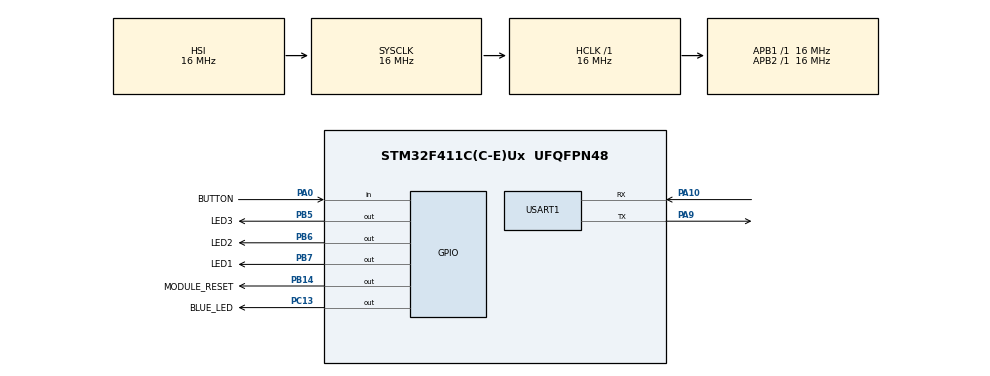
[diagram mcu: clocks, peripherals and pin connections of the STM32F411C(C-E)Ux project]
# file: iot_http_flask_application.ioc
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Dma.Request0=USART1_RX
Dma.Request1=USART1_TX
Dma.USART1_RX.0.Direction=DMA_PERIPH_TO_MEMORY
Dma.USART1_RX.0.FIFOMode=DMA_FIFOMODE_DISABLE
Dma.USART1_RX.0.Instance=DMA2_Stream2
Dma.USART1_RX.0.MemDataAlignment=DMA_MDATAALIGN_BYTE
Dma.USART1_RX.0.MemInc=DMA_MINC_ENABLE
Dma.USART1_RX.0.Mode=DMA_NORMAL
Dma.USART1_RX.0.PeriphDataAlignment=DMA_PDATAALIGN_BYTE
Dma.USART1_RX.0.PeriphInc=DMA_PINC_DISABLE
Dma.USART1_RX.0.Priority=DMA_PRIORITY_LOW
Dma.USART1_TX.1.Direction=DMA_MEMORY_TO_PERIPH
Dma.USART1_TX.1.FIFOMode=DMA_FIFOMODE_DISABLE
Dma.USART1_TX.1.Instance=DMA2_Stream7
Dma.USART1_TX.1.MemDataAlignment=DMA_MDATAALIGN_BYTE
Dma.USART1_TX.1.MemInc=DMA_MINC_ENABLE
Dma.USART1_TX.1.Mode=DMA_NORMAL
Dma.USART1_TX.1.PeriphDataAlignment=DMA_PDATAALIGN_BYTE
Dma.USART1_TX.1.PeriphInc=DMA_PINC_DISABLE
Dma.USART1_TX.1.Priority=DMA_PRIORITY_LOW
Mcu.Family=STM32F4
Mcu.Name=STM32F411C(C-E)Ux
Mcu.Package=UFQFPN48
NVIC.DMA2_Stream2_IRQn=true\:0\:0\:false\:false\:true\:false\:true\:true
NVIC.DMA2_Stream7_IRQn=true\:0\:0\:false\:false\:true\:false\:true\:true
NVIC.PriorityGroup=NVIC_PRIORITYGROUP_4
NVIC.USART1_IRQn=true\:0\:0\:false\:false\:true\:true\:true\:true
PA0-WKUP.GPIO_Label=BUTTON
PA0-WKUP.GPIO_PuPd=GPIO_PULLUP
PA0-WKUP.Signal=GPIO_Input
PA10.Mode=Asynchronous
PA10.Signal=USART1_RX
PA13.Mode=Serial_Wire
PA13.Signal=SYS_JTMS-SWDIO
PA14.Mode=Serial_Wire
PA14.Signal=SYS_JTCK-SWCLK
PA9.Mode=Asynchronous
PA9.Signal=USART1_TX
PB14.GPIO_Label=MODULE_RESET
PB14.Signal=GPIO_Output
PB5.GPIO_Label=LED3
PB5.Signal=GPIO_Output
PB6.GPIO_Label=LED2
PB6.Signal=GPIO_Output
PB7.GPIO_Label=LED1
PB7.Signal=GPIO_Output
PC13-ANTI_TAMP.GPIO_Label=BLUE_LED
PC13-ANTI_TAMP.Signal=GPIO_Output
ProjectManager.HeapSize=0x200
ProjectManager.StackSize=0x400
ProjectManager.TargetToolchain=STM32CubeIDE
RCC.AHBFreq_Value=16000000
RCC.APB1Freq_Value=16000000
RCC.APB2Freq_Value=16000000
RCC.CortexFreq_Value=16000000
RCC.HSE_VALUE=25000000
RCC.HSI_VALUE=16000000
RCC.LSE_VALUE=32768
RCC.SYSCLKFreq_VALUE=16000000
RCC.VCOOutputFreq_Value=192000000
USART1.VirtualMode=VM_ASYNC
board=custom

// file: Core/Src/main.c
/* USER CODE BEGIN Header */
/**
  ******************************************************************************
  * @file           : main.c
  * @brief          : Main program body
  ******************************************************************************
  * @attention
  *
  * Copyright (c) 2022 STMicroelectronics.
  * All rights reserved.
  *
  * This software is licensed under terms that can be found in the LICENSE file
  * in the root directory of this software component.
  * If no LICENSE file comes with this software, it is provided AS-IS.
  *
  ******************************************************************************
  */
/* USER CODE END Header */
#include "main.h"

 UART_HandleTypeDef huart1;
DMA_HandleTypeDef hdma_usart1_rx;
DMA_HandleTypeDef hdma_usart1_tx;

void SystemClock_Config(void);
static void MX_GPIO_Init(void);
static void MX_DMA_Init(void);
static void MX_USART1_UART_Init(void);

int main(void)
{

  /* MCU Configuration--------------------------------------------------------*/

  /* Reset of all peripherals, Initializes the Flash interface and the Systick. */
  HAL_Init();

  /* Configure the system clock */
  SystemClock_Config();

  /* Initialize all configured peripherals */
  MX_GPIO_Init();
  MX_DMA_Init();
  MX_USART1_UART_Init();
  /* USER CODE BEGIN 2 */
  nx_json *json = NULL;
  wifiModuleInit();

  HAL_UARTEx_ReceiveToIdle_DMA(&huart1, (uint8_t*) hWifiModule.rxBuffer, WIFI_MODULE_BUFFER_SIZE);
  /* USER CODE END 2 */

  /* Infinite loop */
  /* USER CODE BEGIN WHILE */
  while (1)
  {

	/**
	 * Module configuration task
	 */
	  if(hWifiModule.controlFlags.flag.configurationFase && hWifiModule.controlFlags.flag.configurationNotify)
	  {
		  wifiModuleConfigSequence();

		  HAL_GPIO_TogglePin(BLUE_LED_GPIO_Port, BLUE_LED_Pin);

		  hWifiModule.controlFlags.flag.configurationNotify = DISABLE;

		  hWifiModule.httpTimer = HAL_GetTick();
	  }
	/**
	 * Make HTTP GET request periodically to obtain JSON string
	 */
	  if(0 == hWifiModule.controlFlags.flag.configurationFase && (HAL_GetTick() - hWifiModule.httpTimer > 1000))
	  {
		  wifiModuleHttpGetRequest();

		  hWifiModule.httpTimer = HAL_GetTick();
	  }
	  /**
	   *
	   */
	  if(hWifiModule.controlFlags.flag.httpGetNotify)
	  {
		  uint8_t offset = 0;
		  uint8_t value = 0;
		  offset = strlen(AT_HTTP_RESPONSE_HEADER) + 12;

		  json = nx_json_parse_utf8((char*)(hWifiModule.rxBuffer + offset));

		  value = nx_json_get(json, "Value")->text_value[0] - '0';

		  if(value)
		  {
			  HAL_GPIO_WritePin(BLUE_LED_GPIO_Port, BLUE_LED_Pin, RESET);
		  }
		  else
		  {
			  HAL_GPIO_WritePin(BLUE_LED_GPIO_Port, BLUE_LED_Pin, SET);
		  }

		  hWifiModule.controlFlags.flag.httpGetNotify = DISABLE;
	  }

	/**
	 * UART transmission task. It works only when the UART TX buffer is filled
	 */
	  if(hWifiModule.controlFlags.flag.packetToTransmit && (HAL_GetTick() - hWifiModule.txTimer > 1000))
	  {
		  HAL_UART_Transmit_DMA(&huart1, (uint8_t*) hWifiModule.txBuffer, hWifiModule.txPacketSize);

		  hWifiModule.controlFlags.flag.packetToTransmit = DISABLE;

		  hWifiModule.txTimer = HAL_GetTick();
	  }
	/**
	 * UART RX task. After UART RX callback is received and the UART RX buffer is filled, this task is executed
	 */
	  if(hWifiModule.controlFlags.flag.packetReceived)
	  {
		  hWifiModule.controlFlags.flag.packetReceived = DISABLE;

		  hWifiModule.rxTimer = HAL_GetTick();
		  //Check if the received packet is a http response packet
		  if(0 == memcmp(hWifiModule.rxBuffer, AT_HTTP_RESPONSE_HEADER, AT_HTTP_RESPONSE_HEADER_SIZE))
		  {
			  hWifiModule.controlFlags.flag.httpGetNotify = ENABLE;
		  }
		  else
		  {
			  hWifiModule.controlFlags.flag.configurationNotify = ENABLE;
		  }
	  }

    /* USER CODE END WHILE */

  }
}

void SystemClock_Config(void)
{
  RCC_OscInitTypeDef RCC_OscInitStruct = {0};
  RCC_ClkInitTypeDef RCC_ClkInitStruct = {0};

  /** Configure the main internal regulator output voltage
  */
  __HAL_RCC_PWR_CLK_ENABLE();
  __HAL_PWR_VOLTAGESCALING_CONFIG(PWR_REGULATOR_VOLTAGE_SCALE1);

  /** Initializes the RCC Oscillators according to the specified parameters
  * in the RCC_OscInitTypeDef structure.
  */
  RCC_OscInitStruct.OscillatorType = RCC_OSCILLATORTYPE_HSI;
  RCC_OscInitStruct.HSIState = RCC_HSI_ON;
  RCC_OscInitStruct.HSICalibrationValue = RCC_HSICALIBRATION_DEFAULT;
  RCC_OscInitStruct.PLL.PLLState = RCC_PLL_NONE;
  if (HAL_RCC_OscConfig(&RCC_OscInitStruct) != HAL_OK)
  {
    Error_Handler();
  }

  /** Initializes the CPU, AHB and APB buses clocks
  */
  RCC_ClkInitStruct.ClockType = RCC_CLOCKTYPE_HCLK|RCC_CLOCKTYPE_SYSCLK
                              |RCC_CLOCKTYPE_PCLK1|RCC_CLOCKTYPE_PCLK2;
  RCC_ClkInitStruct.SYSCLKSource = RCC_SYSCLKSOURCE_HSI;
  RCC_ClkInitStruct.AHBCLKDivider = RCC_SYSCLK_DIV1;
  RCC_ClkInitStruct.APB1CLKDivider = RCC_HCLK_DIV1;
  RCC_ClkInitStruct.APB2CLKDivider = RCC_HCLK_DIV1;

  if (HAL_RCC_ClockConfig(&RCC_ClkInitStruct, FLASH_LATENCY_0) != HAL_OK)
  {
    Error_Handler();
  }
}

static void MX_USART1_UART_Init(void)
{

  huart1.Instance = USART1;
  huart1.Init.BaudRate = 115200;
  huart1.Init.WordLength = UART_WORDLENGTH_8B;
  huart1.Init.StopBits = UART_STOPBITS_1;
  huart1.Init.Parity = UART_PARITY_NONE;
  huart1.Init.Mode = UART_MODE_TX_RX;
  huart1.Init.HwFlowCtl = UART_HWCONTROL_NONE;
  huart1.Init.OverSampling = UART_OVERSAMPLING_16;
  if (HAL_UART_Init(&huart1) != HAL_OK)
  {
    Error_Handler();
  }

}

static void MX_DMA_Init(void)
{

  /* DMA controller clock enable */
  __HAL_RCC_DMA2_CLK_ENABLE();

  /* DMA interrupt init */
  /* DMA2_Stream2_IRQn interrupt configuration */
  HAL_NVIC_SetPriority(DMA2_Stream2_IRQn, 0, 0);
  HAL_NVIC_EnableIRQ(DMA2_Stream2_IRQn);
  /* DMA2_Stream7_IRQn interrupt configuration */
  HAL_NVIC_SetPriority(DMA2_Stream7_IRQn, 0, 0);
  HAL_NVIC_EnableIRQ(DMA2_Stream7_IRQn);

}

static void MX_GPIO_Init(void)
{
  GPIO_InitTypeDef GPIO_InitStruct = {0};

  /* GPIO Ports Clock Enable */
  __HAL_RCC_GPIOC_CLK_ENABLE();
  __HAL_RCC_GPIOA_CLK_ENABLE();
  __HAL_RCC_GPIOB_CLK_ENABLE();

  /*Configure GPIO pin Output Level */
  HAL_GPIO_WritePin(BLUE_LED_GPIO_Port, BLUE_LED_Pin, GPIO_PIN_RESET);

  /*Configure GPIO pin Output Level */
  HAL_GPIO_WritePin(GPIOB, MODULE_RESET_Pin|LED3_Pin|LED2_Pin|LED1_Pin, GPIO_PIN_RESET);

  /*Configure GPIO pin : BLUE_LED_Pin */
  GPIO_InitStruct.Pin = BLUE_LED_Pin;
  GPIO_InitStruct.Mode = GPIO_MODE_OUTPUT_PP;
  GPIO_InitStruct.Pull = GPIO_NOPULL;
  GPIO_InitStruct.Speed = GPIO_SPEED_FREQ_LOW;
  HAL_GPIO_Init(BLUE_LED_GPIO_Port, &GPIO_InitStruct);

  /*Configure GPIO pin : BUTTON_Pin */
  GPIO_InitStruct.Pin = BUTTON_Pin;
  GPIO_InitStruct.Mode = GPIO_MODE_INPUT;
  GPIO_InitStruct.Pull = GPIO_PULLUP;
  HAL_GPIO_Init(BUTTON_GPIO_Port, &GPIO_InitStruct);

  /*Configure GPIO pins : MODULE_RESET_Pin LED3_Pin LED2_Pin LED1_Pin */
  GPIO_InitStruct.Pin = MODULE_RESET_Pin|LED3_Pin|LED2_Pin|LED1_Pin;
  GPIO_InitStruct.Mode = GPIO_MODE_OUTPUT_PP;
  GPIO_InitStruct.Pull = GPIO_NOPULL;
  GPIO_InitStruct.Speed = GPIO_SPEED_FREQ_LOW;
  HAL_GPIO_Init(GPIOB, &GPIO_InitStruct);

}

/* USER CODE BEGIN 4 */
void HAL_UARTEx_RxEventCallback(UART_HandleTypeDef *huart, uint16_t Size)
{
	hWifiModule.controlFlags.flag.packetReceived = ENABLE;

	HAL_UARTEx_ReceiveToIdle_DMA(&huart1, (uint8_t*) hWifiModule.rxBuffer, WIFI_MODULE_BUFFER_SIZE);

	hWifiModule.rxPacketSize = Size;

	 __HAL_DMA_DISABLE_IT(&hdma_usart1_rx, DMA_IT_HT);
}

/* USER CODE END 4 */

void Error_Handler(void)
{
  __disable_irq();
  while (1)
  {
  }
}
